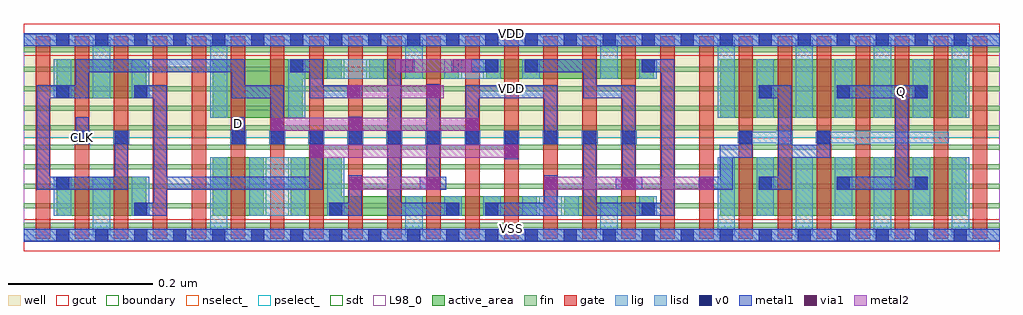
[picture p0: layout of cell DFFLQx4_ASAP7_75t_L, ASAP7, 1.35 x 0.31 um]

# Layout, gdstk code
import gdstk
lib = gdstk.Library(unit=1e-6, precision=2.5e-10)
def R(c, l, rs):  # rectangles x0, y0, x1, y1
    for r in rs: c.add(gdstk.rectangle(r[:2], r[2:], *l))
def A(c, l, x, y, w, h, nx, ny, dx, dy):  # array of equal rectangles
    R(c, l, [(x+i*dx, y+j*dy, x+i*dx+w, y+j*dy+h) for i in range(nx) for j in range(ny)])
def P(c, l, *ps):  # polygons
    for p in ps: c.add(gdstk.Polygon(p, *l))
well = (1, 0)
fin = (2, 0)
gate = (7, 0)
gcut = (10, 0)
active_area = (11, 0)
nselect_ = (12, 0)
pselect_ = (13, 0)
lig = (16, 0)
lisd = (17, 0)
v0 = (18, 0)
metal1 = (19, 0)
metal2 = (20, 0)
via1 = (21, 0)
sdt = (88, 0)
L98_0 = (98, 0)
boundary = (100, 0)

dfflqx4_asap7_75t_l = lib.new_cell('DFFLQx4_ASAP7_75t_L')
R(dfflqx4_asap7_75t_l, well, [(0,0.135,1.35,0.27)])
A(dfflqx4_asap7_75t_l, fin, 0, 0.01, 1.35, 0.007, 1, 10, 0, 0.027)
A(dfflqx4_asap7_75t_l, gate, 0.017, -0.005, 0.02, 0.28, 25, 1, 0.054, 0)
R(dfflqx4_asap7_75t_l, gcut, [(0,-0.022,1.35,0.022), (0,0.248,1.35,0.292)])
R(dfflqx4_asap7_75t_l, active_area, [(0.046,0.027,0.17,0.081), (0.262,0.027,0.332,0.108), (0.748,0.027,0.872,0.054), (0.964,0.027,1.304,0.108), (0.964,0.162,1.304,0.243), (0.046,0.189,0.17,0.243), (0.478,0.216,0.602,0.243), (0.64,0.216,0.872,0.243)])
P(dfflqx4_asap7_75t_l, active_area, [(0.37,0.027),(0.37,0.108),(0.44,0.108),(0.44,0.054),(0.71,0.054),(0.71,0.027)],
  [(0.262,0.162),(0.262,0.243),(0.44,0.243),(0.44,0.216),(0.386,0.216),(0.386,0.162)])
R(dfflqx4_asap7_75t_l, nselect_, [(0,0,1.35,0.135)])
R(dfflqx4_asap7_75t_l, pselect_, [(0,0.135,1.35,0.27)])
A(dfflqx4_asap7_75t_l, lig, 0.286, 0.126, 0.022, 0.018, 11, 1, 0.054, 0)
R(dfflqx4_asap7_75t_l, lig, [(0,-0.008,1.35,0.008), (0.07,0.126,0.092,0.144), (0.124,0.126,0.146,0.144), (1.042,0.126,1.064,0.144), (1.15,0.126,1.172,0.144), (0.988,0.127,1.064,0.143), (1.096,0.127,1.28,0.143), (0,0.262,1.35,0.278)])
A(dfflqx4_asap7_75t_l, lisd, 1.014, 0.027, 0.024, 0.081, 3, 2, 0.108, 0.135)
R(dfflqx4_asap7_75t_l, lisd, [(0.096,0,0.12,0.081), (0.096,0,0.12,0.081), (0.258,0,0.282,0.108), (0.258,0,0.282,0.108), (0.528,0,0.552,0.054), (0.798,0,0.822,0.054), (0.96,0,0.984,0.108), (0.96,0,0.984,0.108), (1.068,0,1.092,0.108), (1.068,0,1.092,0.108), (1.176,0,1.2,0.108), (1.176,0,1.2,0.108), (1.284,0,1.308,0.108), (1.284,0,1.308,0.108), (0.042,0.027,0.066,0.081), (0.15,0.027,0.174,0.081), (0.312,0.027,0.39,0.108), (0.42,0.027,0.444,0.108), (0.582,0.027,0.606,0.054), (0.636,0.027,0.66,0.054), (0.69,0.027,0.768,0.054), (0.852,0.027,0.876,0.054), (0.258,0.162,0.282,0.27), (0.258,0.162,0.282,0.27), (0.366,0.162,0.39,0.243), (0.96,0.162,0.984,0.27), (0.96,0.162,0.984,0.27), (1.068,0.162,1.092,0.27), (1.068,0.162,1.092,0.27), (1.176,0.162,1.2,0.27), (1.176,0.162,1.2,0.27), (1.284,0.162,1.308,0.27), (1.284,0.162,1.308,0.27), (0.042,0.189,0.066,0.243), (0.096,0.189,0.12,0.27), (0.096,0.189,0.12,0.27), (0.15,0.189,0.174,0.243), (0.42,0.216,0.498,0.243), (0.528,0.216,0.552,0.27), (0.582,0.216,0.66,0.243), (0.582,0.216,0.606,0.243), (0.69,0.216,0.714,0.243), (0.798,0.216,0.822,0.27), (0.852,0.216,0.876,0.243)])
A(dfflqx4_asap7_75t_l, v0, 0.045, -0.009, 0.018, 0.018, 24, 2, 0.054, 0.27)
A(dfflqx4_asap7_75t_l, v0, 1.017, 0.063, 0.018, 0.018, 3, 2, 0.108, 0.126)
A(dfflqx4_asap7_75t_l, v0, 0.288, 0.126, 0.018, 0.018, 11, 1, 0.054, 0)
R(dfflqx4_asap7_75t_l, v0, [(0.153,0.027,0.171,0.045), (0.423,0.027,0.441,0.045), (0.585,0.027,0.603,0.045), (0.639,0.027,0.657,0.045), (0.855,0.027,0.873,0.045), (0.045,0.063,0.063,0.081), (0.072,0.126,0.09,0.144), (0.126,0.126,0.144,0.144), (0.99,0.126,1.008,0.144), (1.098,0.126,1.116,0.144), (0.045,0.189,0.063,0.207), (0.153,0.189,0.171,0.207), (0.369,0.225,0.387,0.243), (0.639,0.225,0.657,0.243), (0.693,0.225,0.711,0.243), (0.855,0.225,0.873,0.243)])
A(dfflqx4_asap7_75t_l, metal1, 1.017, 0.063, 0.018, 0.018, 3, 2, 0.108, 0.126)
A(dfflqx4_asap7_75t_l, metal1, 0.288, 0.126, 0.018, 0.018, 11, 1, 0.054, 0)
R(dfflqx4_asap7_75t_l, metal1, [(0,-0.009,1.35,0.009), (0.153,0.027,0.171,0.045), (0.423,0.027,0.441,0.045), (0.585,0.027,0.603,0.045), (0.639,0.027,0.657,0.045), (0.855,0.027,0.873,0.045), (0.045,0.063,0.063,0.081), (0.45,0.063,0.468,0.083), (0.548,0.063,0.585,0.081), (0.558,0.063,0.576,0.207), (0.72,0.063,0.738,0.083), (0.819,0.063,0.856,0.081), (0.934,0.063,0.956,0.081), (0.666,0.105,0.684,0.125), (0.396,0.107,0.414,0.125), (0.666,0.107,0.684,0.144), (0.072,0.126,0.09,0.144), (0.072,0.126,0.09,0.163), (0.126,0.126,0.144,0.144), (0.288,0.126,0.306,0.163), (0.45,0.126,0.468,0.163), (0.99,0.126,1.008,0.144), (1.098,0.126,1.116,0.144), (0.342,0.144,0.36,0.162), (0.45,0.144,0.468,0.164), (0.612,0.144,0.63,0.162), (0.045,0.189,0.063,0.207), (0.153,0.189,0.171,0.207), (0.45,0.189,0.468,0.207), (0.558,0.189,0.576,0.209), (0.369,0.225,0.387,0.243), (0.592,0.225,0.657,0.243), (0.693,0.225,0.711,0.243), (0.855,0.225,0.873,0.243), (0,0.261,1.35,0.279)])
P(dfflqx4_asap7_75t_l, metal1, [(0.504,0.027),(0.504,0.243),(0.541,0.243),(0.541,0.225),(0.522,0.225),(0.522,0.045),(0.603,0.045),(0.603,0.027)],
  [(0.018,0.063),(0.018,0.207),(0.072,0.207),(0.072,0.243),(0.306,0.243),(0.306,0.207),(0.36,0.207),(0.36,0.126),(0.342,0.126),(0.342,0.189),(0.288,0.189),(0.288,0.225),(0.09,0.225),(0.09,0.189),(0.036,0.189),(0.036,0.081),(0.126,0.081),(0.126,0.144),(0.144,0.144),(0.144,0.063)],
  [(0.612,0.126),(0.612,0.207),(0.738,0.207),(0.738,0.126),(0.72,0.126),(0.72,0.189),(0.63,0.189),(0.63,0.126)],
  [(0.153,0.027),(0.153,0.045),(0.18,0.045),(0.18,0.189),(0.153,0.189),(0.153,0.207),(0.198,0.207),(0.198,0.081),(0.396,0.081),(0.396,0.144),(0.414,0.144),(0.414,0.063),(0.198,0.063),(0.198,0.027)],
  [(0.396,0.189),(0.396,0.225),(0.369,0.225),(0.369,0.243),(0.414,0.243),(0.414,0.207),(0.468,0.207),(0.468,0.189)],
  [(0.423,0.027),(0.423,0.045),(0.45,0.045),(0.45,0.081),(0.468,0.081),(0.468,0.027)],
  [(0.828,0.063),(0.828,0.189),(0.774,0.189),(0.774,0.225),(0.693,0.225),(0.693,0.243),(0.792,0.243),(0.792,0.207),(0.846,0.207),(0.846,0.063)],
  [(0.936,0.063),(0.936,0.081),(0.963,0.081),(0.963,0.125),(0.99,0.125),(0.99,0.144),(1.008,0.144),(1.008,0.107),(0.981,0.107),(0.981,0.063)],
  [(0.639,0.027),(0.639,0.045),(0.72,0.045),(0.72,0.081),(0.738,0.081),(0.738,0.027)],
  [(0.774,0.027),(0.774,0.144),(0.792,0.144),(0.792,0.045),(0.882,0.045),(0.882,0.225),(0.855,0.225),(0.855,0.243),(0.9,0.243),(0.9,0.027)],
  [(1.017,0.063),(1.017,0.081),(1.044,0.081),(1.044,0.189),(1.017,0.189),(1.017,0.207),(1.062,0.207),(1.062,0.125),(1.098,0.125),(1.098,0.144),(1.116,0.144),(1.116,0.107),(1.062,0.107),(1.062,0.063)],
  [(1.125,0.063),(1.125,0.081),(1.206,0.081),(1.206,0.189),(1.125,0.189),(1.125,0.207),(1.251,0.207),(1.251,0.189),(1.224,0.189),(1.224,0.081),(1.251,0.081),(1.251,0.063)])
R(dfflqx4_asap7_75t_l, metal2, [(0.45,0.063,0.576,0.081), (0.72,0.063,0.954,0.081), (0.396,0.107,0.684,0.125), (0.342,0.144,0.63,0.162), (0.448,0.189,0.581,0.207), (0.514,0.225,0.62,0.243)])
A(dfflqx4_asap7_75t_l, via1, 0.72, 0.063, 0.018, 0.018, 3, 1, 0.108, 0)
R(dfflqx4_asap7_75t_l, via1, [(0.45,0.063,0.468,0.081), (0.558,0.063,0.576,0.081), (0.396,0.107,0.414,0.125), (0.666,0.107,0.684,0.125), (0.342,0.144,0.36,0.162), (0.45,0.144,0.468,0.162), (0.612,0.144,0.63,0.162), (0.448,0.189,0.466,0.207), (0.558,0.189,0.576,0.207), (0.521,0.225,0.539,0.243), (0.594,0.225,0.612,0.243)])
A(dfflqx4_asap7_75t_l, sdt, 0.258, 0.027, 0.024, 0.081, 4, 1, 0.054, 0)
A(dfflqx4_asap7_75t_l, sdt, 0.528, 0.027, 0.024, 0.027, 7, 1, 0.054, 0)
A(dfflqx4_asap7_75t_l, sdt, 0.96, 0.027, 0.024, 0.081, 3, 2, 0.054, 0.135)
A(dfflqx4_asap7_75t_l, sdt, 1.068, 0.027, 0.024, 0.081, 3, 2, 0.054, 0.135)
A(dfflqx4_asap7_75t_l, sdt, 1.176, 0.027, 0.024, 0.081, 3, 2, 0.054, 0.135)
A(dfflqx4_asap7_75t_l, sdt, 0.42, 0.216, 0.024, 0.027, 6, 1, 0.054, 0)
R(dfflqx4_asap7_75t_l, sdt, [(0.042,0.027,0.066,0.081), (0.096,0.027,0.12,0.081), (0.096,0.027,0.12,0.081), (0.15,0.027,0.174,0.081), (0.258,0.027,0.282,0.108), (0.258,0.027,0.282,0.108), (0.42,0.027,0.444,0.108), (0.96,0.027,0.984,0.108), (1.284,0.027,1.308,0.108), (0.258,0.162,0.282,0.243), (0.258,0.162,0.282,0.243), (0.366,0.162,0.39,0.243), (0.96,0.162,0.984,0.243), (1.284,0.162,1.308,0.243), (0.042,0.189,0.066,0.243), (0.096,0.189,0.12,0.243), (0.096,0.189,0.12,0.243), (0.15,0.189,0.174,0.243), (0.798,0.216,0.822,0.243), (0.852,0.216,0.876,0.243)])
R(dfflqx4_asap7_75t_l, L98_0, [(0,0,1.35,0.27)])
R(dfflqx4_asap7_75t_l, boundary, [(0,0,1.35,0.27)])
dfflqx4_asap7_75t_l.add(gdstk.Label('VDD', (0.675,0.2025), layer=1, texttype=251))
dfflqx4_asap7_75t_l.add(gdstk.Label('VSS', (0.675,-0.0675), layer=3, texttype=251))
dfflqx4_asap7_75t_l.add(gdstk.Label('VSS', (0.675,0.009), layer=19, texttype=251))
dfflqx4_asap7_75t_l.add(gdstk.Label('VDD', (0.675,0.279), layer=19, texttype=251))
dfflqx4_asap7_75t_l.add(gdstk.Label('CLK', (0.081,0.135), layer=19, texttype=251))
dfflqx4_asap7_75t_l.add(gdstk.Label('D', (0.297,0.154), layer=19, texttype=251))
dfflqx4_asap7_75t_l.add(gdstk.Label('Q', (1.215,0.198), layer=19, texttype=251))

lib.write_gds('DFFLQx4_ASAP7_75t_L.gds')
